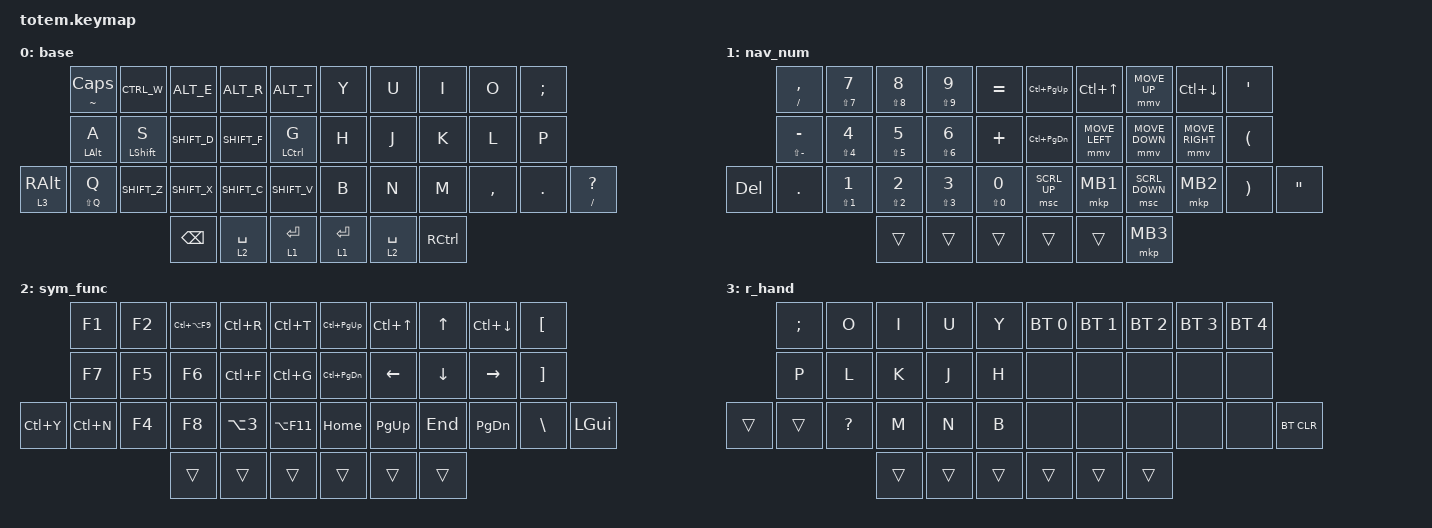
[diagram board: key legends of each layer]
//
//                                                        ▀▀▀▀▀     ▀▀▀▀▀          ▀▀█▀▀
//                                                        ▄▀▀▀▄  ▄  ▄▀▀▀▄  ▄  ▄▀▀▀▄  █  ▄▀▀▀▄
//                                                        █   █  █  █   █  █  █   █  █  █   █
//                                                         ▀▀▀   █   ▀▀▀   █   ▀▀▀   ▀   ▀▀▀
//                                                               █      ▄▄▄█▄▄▄    █   █  
//                                                               ▀      █  █  █     █▄█
//                                                             ▀▀▀▀▀    █  █  █      ▀
//                                                                      ▀  ▀  ▀
//
// ▄▄▄▄▄▄▄▄▄▄▄▄▄▄▄▄▄▄▄▄▄▄▄▄▄▄▄▄▄▄▄▄▄▄▄▄▄▄▄▄▄▄▄▄▄▄▄▄▄▄▄▄▄▄▄▄▄▄▄▄▄▄▄▄▄▄▄▄▄▄▄▄▄▄▄▄▄▄▄▄▄▄▄▄▄▄▄▄▄▄▄▄▄▄▄▄▄▄▄▄▄▄▄▄▄▄▄▄▄▄▄▄▄▄▄▄▄▄▄▄▄▄▄▄▄▄▄▄▄▄▄▄▄▄▄▄▄▄▄▄▄▄▄▄▄▄▄▄▄

#include <behaviors.dtsi>
#include <dt-bindings/zmk/bt.h>
#include <dt-bindings/zmk/keys.h>
#include <dt-bindings/zmk/pointing.h>

/ {
    behaviors {
        holdtap: holdtap {
            compatible = "zmk,behavior-hold-tap";
            label = "HOLDTAP";
            bindings = <&kp>, <&kp>;

            #binding-cells = <2>;
            tapping-term-ms = <170>;
            flavor = "tap-preferred";
            quick-tap-ms = <150>;
        };

        Aholdtap: Aholdtap {
            compatible = "zmk,behavior-hold-tap";
            label = "AHOLDTAP";
            bindings = <&kp>, <&kp>;

            #binding-cells = <2>;
            tapping-term-ms = <230>;
            quick-tap-ms = <180>;
            require-prior-idle-ms = <120>;
            flavor = "tap-preferred";
        };

        SHIFT_C: SHIFT_C {
            compatible = "zmk,behavior-mod-morph";
            label = "SHIFT_C";
            bindings = <&kp C>, <&kp LC(LS(C))>;

            #binding-cells = <0>;
            mods = <(MOD_LSFT)>;
        };

        SHIFT_V: SHIFT_V {
            compatible = "zmk,behavior-mod-morph";
            label = "SHIFT_V";
            bindings = <&kp V>, <&kp LS(LC(V))>;

            #binding-cells = <0>;
            mods = <(MOD_LSFT)>;
        };

        SHIFT_F: SHIFT_F {
            compatible = "zmk,behavior-mod-morph";
            label = "SHIFT_F";
            bindings = <&kp F>, <&kp LS(LC(F))>;

            #binding-cells = <0>;
            mods = <(MOD_LSFT)>;
        };

        ALT_E: ALT_E {
            compatible = "zmk,behavior-mod-morph";
            label = "ALT_E";
            bindings = <&kp E>, <&kp LA(LC(END))>;

            #binding-cells = <0>;
            mods = <(MOD_LALT)>;
        };

        ALT_R: ALT_R {
            compatible = "zmk,behavior-mod-morph";
            label = "ALT_R";
            bindings = <&kp R>, <&kp LS(LA(G))>;

            #binding-cells = <0>;
            mods = <(MOD_LALT)>;
        };

        ALT_T: ALT_T {
            compatible = "zmk,behavior-mod-morph";
            label = "ALT_T";
            bindings = <&kp T>, <&kp LC(LS(F10))>;

            #binding-cells = <0>;
            mods = <(MOD_LALT)>;
        };

        SHIFT_D: SHIFT_D {
            compatible = "zmk,behavior-mod-morph";
            label = "SHIFT_D";
            bindings = <&kp D>, <&kp LC(LS(A))>;

            #binding-cells = <0>;
            mods = <(MOD_LSFT)>;
        };

        CTRL_W: CTRL_W {
            compatible = "zmk,behavior-mod-morph";
            label = "CTRL_W";
            bindings = <&kp W>, <&kp LS(LC(S))>;

            #binding-cells = <0>;
            mods = <(MOD_LCTL)>;
        };

        SHIFT_Z: SHIFT_Z {
            compatible = "zmk,behavior-mod-morph";
            label = "SHIFT_Z";
            bindings = <&kp Z>, <&kp LS(LC(F10))>;

            #binding-cells = <0>;
            mods = <(MOD_LSFT)>;
        };

        SHIFT_X: SHIFT_X {
            compatible = "zmk,behavior-mod-morph";
            label = "SHIFT_X";
            bindings = <&kp X>, <&kp LS(LA(LC(N)))>;

            #binding-cells = <0>;
            mods = <(MOD_LALT)>;
        };
    };

    combos {
        compatible = "zmk,combos";

        CTRLC {
            bindings = <&kp LC(C)>;
            key-positions = <12 13>;
        };

        CTRLV {
            bindings = <&kp LC(V)>;
            key-positions = <14 13>;
        };

        TAP {
            bindings = <&kp TAB>;
            key-positions = <2 12>;
        };

        ESCC {
            bindings = <&kp ESC>;
            key-positions = <3 13>;
        };

        CTRLZ {
            bindings = <&kp LC(Z)>;
            key-positions = <11 13>;
        };

        CTRLX {
            bindings = <&kp LC(X)>;
            key-positions = <11 12>;
        };

        shiftW {
            bindings = <&kp LS(W)>;
            key-positions = <1 11>;
        };
    };

    keymap {
        compatible = "zmk,keymap";

        base {
            bindings = <
                 &holdtap TILDE CAPS   &CTRL_W                &ALT_E         &ALT_R       &ALT_T              &kp Y        &kp U        &kp I      &kp O      &kp SEMICOLON
                 &Aholdtap LEFT_ALT A  &holdtap LEFT_SHIFT S  &SHIFT_D       &SHIFT_F     &holdtap LCTRL G    &kp H        &kp J        &kp K      &kp L      &kp P
&lt 3 RIGHT_ALT  &Aholdtap LS(Q) Q     &SHIFT_Z               &SHIFT_X       &SHIFT_C     &SHIFT_V            &kp B        &kp N        &kp M      &kp COMMA  &kp PERIOD     &mt SLASH QUESTION
                                                              &kp BACKSPACE  &lt 2 SPACE  &lt 1 ENTER         &lt 1 ENTER  &lt 2 SPACE  &kp RCTRL
            >;
        };

        nav_num {
            bindings = <
         &Aholdtap SLASH COMMA      &Aholdtap LS(NUMBER_7) NUMBER_7  &holdtap LS(NUMBER_8) NUMBER_8  &holdtap LS(NUMBER_9) NUMBER_9  &kp EQUAL                         &kp LC(PAGE_UP)    &kp LC(UP_ARROW)  &mmv MOVE_UP    &kp LC(DOWN)     &kp SQT
         &Aholdtap LS(MINUS) MINUS  &holdtap LS(NUMBER_4) NUMBER_4   &holdtap LS(N5) NUMBER_5        &holdtap LS(NUMBER_6) NUMBER_6  &kp PLUS                          &kp LC(PAGE_DOWN)  &mmv MOVE_LEFT    &mmv MOVE_DOWN  &mmv MOVE_RIGHT  &kp LEFT_PARENTHESIS
&kp DEL  &kp DOT                    &Aholdtap LS(NUMBER_1) NUMBER_1  &holdtap LS(NUMBER_2) NUMBER_2  &holdtap LS(NUMBER_3) NUMBER_3  &holdtap LS(NUMBER_0) NUMBER_0    &msc SCRL_UP       &mkp MB1          &msc SCRL_DOWN  &mkp MB2         &kp RIGHT_PARENTHESIS  &kp DOUBLE_QUOTES
                                                                     &trans                          &trans                          &trans                            &trans             &trans            &mkp MB3
            >;
        };

        sym_func {
            bindings = <
           &kp F1     &kp F2  &kp LC(LA(F9))  &kp LC(R)   &kp LC(T)      &kp LC(PAGE_UP)    &kp LC(UP_ARROW)  &kp UP_ARROW  &kp LC(DOWN)   &kp LEFT_BRACKET
           &kp F7     &kp F5  &kp F6          &kp LC(F)   &kp LC(G)      &kp LC(PAGE_DOWN)  &kp LEFT          &kp DOWN      &kp RIGHT      &kp RIGHT_BRACKET
&kp LC(Y)  &kp LC(N)  &kp F4  &kp F8          &kp LA(N3)  &kp LA(F11)    &kp HOME           &kp PAGE_UP       &kp END       &kp PAGE_DOWN  &kp BACKSLASH      &kp LEFT_GUI
                              &trans          &trans      &trans         &trans             &trans            &trans
            >;
        };

        r_hand {
            bindings = <
        &kp SEMICOLON  &kp O         &kp I   &kp U   &kp Y     &bt BT_SEL 0  &bt BT_SEL 1  &bt BT_SEL 2  &bt BT_SEL 3  &bt BT_SEL 4
        &kp P          &kp L         &kp K   &kp J   &kp H     &none         &none         &none         &none         &none
&trans  &trans         &kp QUESTION  &kp M   &kp N   &kp B     &none         &none         &none         &none         &none         &bt BT_CLR
                                     &trans  &trans  &trans    &trans        &trans        &trans
            >;
        };

        extra1 { status = "reserved"; };

        extra2 { status = "reserved"; };

        extra3 { status = "reserved"; };
    };

    conditional_layers { compatible = "zmk,conditional-layers"; };
};
